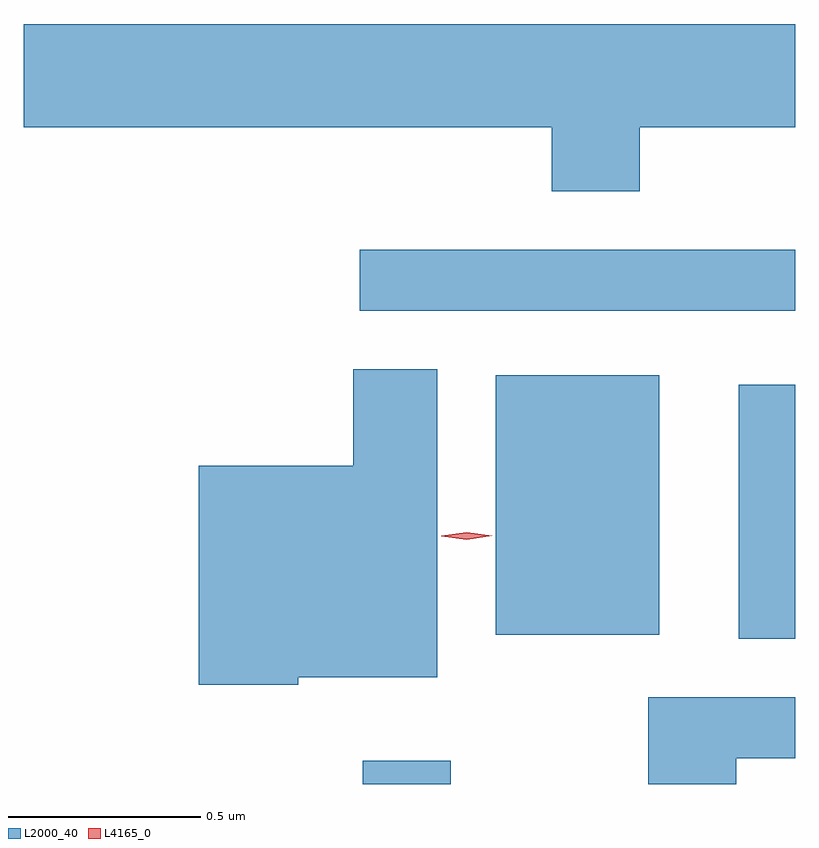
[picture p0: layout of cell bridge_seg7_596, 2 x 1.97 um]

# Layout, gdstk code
import gdstk
lib = gdstk.Library(unit=1e-6, precision=1e-09)
def R(c, l, rs):  # rectangles x0, y0, x1, y1
    for r in rs: c.add(gdstk.rectangle(r[:2], r[2:], *l))
def P(c, l, *ps):  # polygons
    for p in ps: c.add(gdstk.Polygon(p, *l))
L2000_40 = (2000, 40)
L4165_0 = (4165, 0)

bridge_seg7_596 = lib.new_cell('bridge_seg7_596')
R(bridge_seg7_596, L2000_40, [(751.821,1741.474,752.049,1741.534), (752.796,1741.851,752.942,1742.509), (752.166,1741.861,752.589,1742.534), (751.813,1742.701,752.942,1742.859)])
P(bridge_seg7_596, L2000_40, [(752.539,1743.176),(752.942,1743.176),(752.942,1743.444),(750.942,1743.444),(750.942,1743.176),(752.311,1743.176),(752.311,1743.011),(752.539,1743.011)],
  [(751.654,1741.751),(752.014,1741.751),(752.014,1742.549),(751.796,1742.549),(751.796,1742.299),(751.396,1742.299),(751.396,1741.731),(751.654,1741.731)],
  [(752.789,1741.541),(752.942,1741.541),(752.942,1741.699),(752.561,1741.699),(752.561,1741.474),(752.789,1741.474)])
P(bridge_seg7_596, L4165_0, [(752.09,1742.107),(752.024,1742.116),(752.024,1742.116),(752.024,1742.117),(752.09,1742.127),(752.156,1742.118),(752.156,1742.117),(752.156,1742.117)])

lib.write_gds('bridge_seg7_596.gds')
